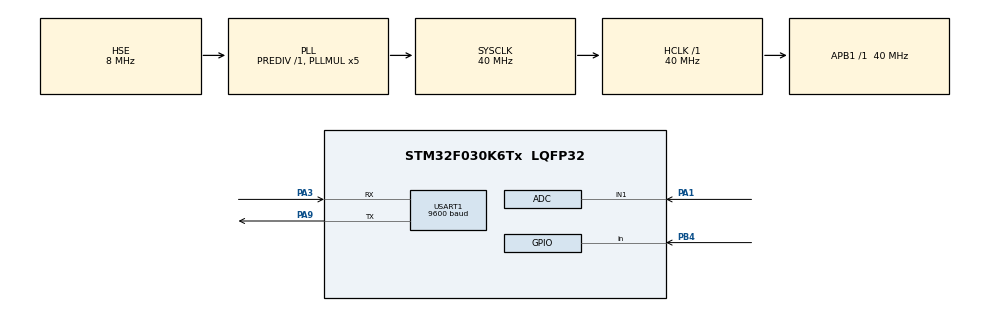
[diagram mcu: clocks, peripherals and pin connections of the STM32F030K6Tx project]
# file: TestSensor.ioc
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ADC.ContinuousConvMode=ENABLE
ADC.SamplingTime=ADC_SAMPLETIME_239CYCLES_5
Mcu.Family=STM32F0
Mcu.Name=STM32F030K6Tx
Mcu.Package=LQFP32
NVIC.ADC1_IRQn=true\:0\:0\:false\:false\:true\:true\:true
NVIC.USART1_IRQn=true\:0\:0\:false\:false\:true\:true\:true
PA1.Mode=IN1
PA1.Signal=ADC_IN1
PA13.Mode=Serial_Wire
PA13.Signal=SYS_SWDIO
PA14.Mode=Serial_Wire
PA14.Signal=SYS_SWCLK
PA3.Mode=Asynchronous
PA3.Signal=USART1_RX
PA9.Mode=Asynchronous
PA9.Signal=USART1_TX
PB4.Signal=GPIO_Input
PF0-OSC_IN.Mode=HSE-External-Oscillator
PF0-OSC_IN.Signal=RCC_OSC_IN
PF1-OSC_OUT.Mode=HSE-External-Oscillator
PF1-OSC_OUT.Signal=RCC_OSC_OUT
ProjectManager.HeapSize=0x200
ProjectManager.StackSize=0x400
ProjectManager.TargetToolchain=MDK-ARM V5
RCC.AHBFreq_Value=40000000
RCC.APB1Freq_Value=40000000
RCC.APB1TimFreq_Value=40000000
RCC.HCLKFreq_Value=40000000
RCC.PLLMUL=RCC_PLL_MUL5
RCC.PLLSourceVirtual=RCC_PLLSOURCE_HSE
RCC.SYSCLKFreq_VALUE=40000000
RCC.SYSCLKSource=RCC_SYSCLKSOURCE_PLLCLK
TIM3.Period=0xffff-1
TIM3.Prescaler=40-1
USART1.BaudRate=9600
USART1.VirtualMode-Asynchronous=VM_ASYNC
VP_TIM3_VS_ClockSourceINT.Mode=Internal
board=custom

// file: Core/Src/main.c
/* USER CODE BEGIN Header */
/**
  ******************************************************************************
  * @file           : main.c
  * @brief          : Main program body
  ******************************************************************************
  * @attention
  *
  * Copyright (c) 2022 STMicroelectronics.
  * All rights reserved.
  *
  * This software is licensed under terms that can be found in the LICENSE file
  * in the root directory of this software component.
  * If no LICENSE file comes with this software, it is provided AS-IS.
  *
  ******************************************************************************
  */
/* USER CODE END Header */
#include "main.h"

/* USER CODE BEGIN Includes */

#include "stdio.h"
/* USER CODE END Includes */

ADC_HandleTypeDef hadc;

TIM_HandleTypeDef htim3;

UART_HandleTypeDef huart1;

void SystemClock_Config(void);
static void MX_GPIO_Init(void);
static void MX_TIM3_Init(void);
static void MX_USART1_UART_Init(void);
static void MX_ADC_Init(void);

/* USER CODE BEGIN 0 */
/******* Variable ********/
uint8_t Temp_byte1, Temp_byte2;
uint32_t TEMP, ADCVal;
float Temperature = 0;
uint8_t Presence = 0;
char buffer[12] = {0};
int Soil_Moisture = 0;
int buffer_int = 0;
size_t strlen(const char*str);
/********* Convert float to int ********/
int Convert_Fl_To_Int(float fl){
	if(fl - (int)fl > 0.5){
		return (int)fl + 1;
		}
	return (int)fl;
	}

/********* UART transmit **********/
void UARTprintf(char *str){
	HAL_UART_Transmit(&huart1, (uint8_t *) str, strlen(str), 1000);
}

/*********** Delay us ************/
void delay (uint16_t time)
{
	/* change your code here for the delay in microseconds */
	__HAL_TIM_SET_COUNTER(&htim3, 0);
	while ((__HAL_TIM_GET_COUNTER(&htim3))<time);
}

/******** Set Pin as Output******/
void Set_Pin_Output (GPIO_TypeDef *GPIOx, uint16_t GPIO_Pin)
{
	GPIO_InitTypeDef GPIO_InitStruct = {0};
	GPIO_InitStruct.Pin = GPIO_Pin;
	GPIO_InitStruct.Mode = GPIO_MODE_OUTPUT_PP;
	GPIO_InitStruct.Speed = GPIO_SPEED_FREQ_LOW;
	HAL_GPIO_Init(GPIOx, &GPIO_InitStruct);
}

/******** Set Pin as Input*******/
void Set_Pin_Input (GPIO_TypeDef *GPIOx, uint16_t GPIO_Pin)
{
	GPIO_InitTypeDef GPIO_InitStruct = {0};
	GPIO_InitStruct.Pin = GPIO_Pin;
	GPIO_InitStruct.Mode = GPIO_MODE_INPUT;
	GPIO_InitStruct.Pull = GPIO_PULLUP;
	HAL_GPIO_Init(GPIOx, &GPIO_InitStruct);
}

/*********** DS18B20 Funtctions ********************/
#define DS18B20_PORT GPIOB
#define DS18B20_PIN GPIO_PIN_4
/***** Initialize DS18B20 *******/
uint8_t DS18B20_Start (void)
{
	uint8_t Response = 0;
	Set_Pin_Output (DS18B20_PORT, DS18B20_PIN);  // set the pin as output
	HAL_GPIO_WritePin(DS18B20_PORT, DS18B20_PIN, 0); // set low
	delay(480); // datasheet

	Set_Pin_Input(DS18B20_PORT, DS18B20_PIN); // set the pin as input
	delay(80); // datasheet

	if(!(HAL_GPIO_ReadPin(DS18B20_PORT, DS18B20_PIN)))
		Response = 1;
	else Response = -1;

	delay(400);
	return Response;

}

/***** Write Bit to DS18B20 ******/
void DS18B20_Write (uint8_t data)
{
	Set_Pin_Output(DS18B20_PORT, DS18B20_PIN);  // set as output

	for (int i=0; i<8; i++)
	{

		if ((data & (1<<i))!=0)  // if the bit is high
		{
			// write 1

			Set_Pin_Output(DS18B20_PORT, DS18B20_PIN);  // set as output
			HAL_GPIO_WritePin (DS18B20_PORT, DS18B20_PIN, 0);  // pull the pin LOW
			delay (1);  // wait for 1 us

			Set_Pin_Input(DS18B20_PORT, DS18B20_PIN);  // set as input
			delay (60);  // wait for 60 us
		}

		else  // if the bit is low
		{
			// write 0

			Set_Pin_Output(DS18B20_PORT, DS18B20_PIN);
			HAL_GPIO_WritePin (DS18B20_PORT, DS18B20_PIN, 0);  // pull the pin LOW
			delay (60);  // wait for 60 us

			Set_Pin_Input(DS18B20_PORT, DS18B20_PIN);
		}
	}
}

/***** Read DS18B20's temp value *****/
uint8_t DS18B20_Read (void)
{
	uint8_t value=0;

	Set_Pin_Input(DS18B20_PORT, DS18B20_PIN);

	for (int i=0;i<8;i++)
	{
		Set_Pin_Output(DS18B20_PORT, DS18B20_PIN);   // set as output

		HAL_GPIO_WritePin (DS18B20_PORT, DS18B20_PIN, 0);  // pull the data pin LOW
		delay (2);  // wait for > 1us

		Set_Pin_Input(DS18B20_PORT, DS18B20_PIN);  // set as input
		if (HAL_GPIO_ReadPin (DS18B20_PORT, DS18B20_PIN))  // if the pin is HIGH
		{
			value |= 1<<i;  // read = 1
		}
		delay (60);  // wait for 60 us
	}
	return value;
}

/* USER CODE END 0 */

int main(void)
{

  /* MCU Configuration--------------------------------------------------------*/

  /* Reset of all peripherals, Initializes the Flash interface and the Systick. */
  HAL_Init();

  /* Configure the system clock */
  SystemClock_Config();

  /* Initialize all configured peripherals */
  MX_GPIO_Init();
  MX_TIM3_Init();
  MX_USART1_UART_Init();
  MX_ADC_Init();
  /* USER CODE BEGIN 2 */
	HAL_TIM_Base_Start(&htim3);
  /* USER CODE END 2 */

  /* Infinite loop */
  while (1)
  {

    /* USER CODE BEGIN 3 */

		/****** Soil moisture sensor ******/ //dry : 3630 (value ADC)
		HAL_ADC_Start(&hadc);
		HAL_ADC_PollForConversion(&hadc, 100);
		ADCVal = HAL_ADC_GetValue(&hadc);
		HAL_ADC_Stop (&hadc);
		Soil_Moisture = 100 - (ADCVal * 100)/3630;

		/****** Temp sensor *******/
	  Presence = DS18B20_Start();
	  HAL_Delay(1);
	  DS18B20_Write(0xCC);
		DS18B20_Write(0x44);
		HAL_Delay(800);

		Presence = DS18B20_Start();
		HAL_Delay(1);
		DS18B20_Write(0xCC);
		DS18B20_Write(0xBE);

		Temp_byte1 = DS18B20_Read();
		Temp_byte2 = DS18B20_Read();
		TEMP = (Temp_byte2<<8)|Temp_byte1;
		Temperature = (float)TEMP/16;
		buffer_int =  Convert_Fl_To_Int(Temperature) + Soil_Moisture*1000;
		sprintf(buffer, "%d", buffer_int);
		UARTprintf(buffer);

		HAL_Delay(200);
  }
  /* USER CODE END 3 */
}

void SystemClock_Config(void)
{
  RCC_OscInitTypeDef RCC_OscInitStruct = {0};
  RCC_ClkInitTypeDef RCC_ClkInitStruct = {0};
  RCC_PeriphCLKInitTypeDef PeriphClkInit = {0};

  /** Initializes the RCC Oscillators according to the specified parameters
  * in the RCC_OscInitTypeDef structure.
  */
  RCC_OscInitStruct.OscillatorType = RCC_OSCILLATORTYPE_HSI14|RCC_OSCILLATORTYPE_HSE;
  RCC_OscInitStruct.HSEState = RCC_HSE_ON;
  RCC_OscInitStruct.HSI14State = RCC_HSI14_ON;
  RCC_OscInitStruct.HSI14CalibrationValue = 16;
  RCC_OscInitStruct.PLL.PLLState = RCC_PLL_ON;
  RCC_OscInitStruct.PLL.PLLSource = RCC_PLLSOURCE_HSE;
  RCC_OscInitStruct.PLL.PLLMUL = RCC_PLL_MUL5;
  RCC_OscInitStruct.PLL.PREDIV = RCC_PREDIV_DIV1;
  if (HAL_RCC_OscConfig(&RCC_OscInitStruct) != HAL_OK)
  {
    Error_Handler();
  }
  /** Initializes the CPU, AHB and APB buses clocks
  */
  RCC_ClkInitStruct.ClockType = RCC_CLOCKTYPE_HCLK|RCC_CLOCKTYPE_SYSCLK
                              |RCC_CLOCKTYPE_PCLK1;
  RCC_ClkInitStruct.SYSCLKSource = RCC_SYSCLKSOURCE_PLLCLK;
  RCC_ClkInitStruct.AHBCLKDivider = RCC_SYSCLK_DIV1;
  RCC_ClkInitStruct.APB1CLKDivider = RCC_HCLK_DIV1;

  if (HAL_RCC_ClockConfig(&RCC_ClkInitStruct, FLASH_LATENCY_1) != HAL_OK)
  {
    Error_Handler();
  }
  PeriphClkInit.PeriphClockSelection = RCC_PERIPHCLK_USART1;
  PeriphClkInit.Usart1ClockSelection = RCC_USART1CLKSOURCE_PCLK1;
  if (HAL_RCCEx_PeriphCLKConfig(&PeriphClkInit) != HAL_OK)
  {
    Error_Handler();
  }
}

static void MX_ADC_Init(void)
{

  ADC_ChannelConfTypeDef sConfig = {0};

  /** Configure the global features of the ADC (Clock, Resolution, Data Alignment and number of conversion)
  */
  hadc.Instance = ADC1;
  hadc.Init.ClockPrescaler = ADC_CLOCK_ASYNC_DIV1;
  hadc.Init.Resolution = ADC_RESOLUTION_12B;
  hadc.Init.DataAlign = ADC_DATAALIGN_RIGHT;
  hadc.Init.ScanConvMode = ADC_SCAN_DIRECTION_FORWARD;
  hadc.Init.EOCSelection = ADC_EOC_SINGLE_CONV;
  hadc.Init.LowPowerAutoWait = DISABLE;
  hadc.Init.LowPowerAutoPowerOff = DISABLE;
  hadc.Init.ContinuousConvMode = ENABLE;
  hadc.Init.DiscontinuousConvMode = DISABLE;
  hadc.Init.ExternalTrigConv = ADC_SOFTWARE_START;
  hadc.Init.ExternalTrigConvEdge = ADC_EXTERNALTRIGCONVEDGE_NONE;
  hadc.Init.DMAContinuousRequests = DISABLE;
  hadc.Init.Overrun = ADC_OVR_DATA_PRESERVED;
  if (HAL_ADC_Init(&hadc) != HAL_OK)
  {
    Error_Handler();
  }
  /** Configure for the selected ADC regular channel to be converted.
  */
  sConfig.Channel = ADC_CHANNEL_1;
  sConfig.Rank = ADC_RANK_CHANNEL_NUMBER;
  sConfig.SamplingTime = ADC_SAMPLETIME_239CYCLES_5;
  if (HAL_ADC_ConfigChannel(&hadc, &sConfig) != HAL_OK)
  {
    Error_Handler();
  }

}

static void MX_TIM3_Init(void)
{

  TIM_ClockConfigTypeDef sClockSourceConfig = {0};
  TIM_MasterConfigTypeDef sMasterConfig = {0};

  htim3.Instance = TIM3;
  htim3.Init.Prescaler = 40-1;
  htim3.Init.CounterMode = TIM_COUNTERMODE_UP;
  htim3.Init.Period = 0xffff-1;
  htim3.Init.ClockDivision = TIM_CLOCKDIVISION_DIV1;
  htim3.Init.AutoReloadPreload = TIM_AUTORELOAD_PRELOAD_DISABLE;
  if (HAL_TIM_Base_Init(&htim3) != HAL_OK)
  {
    Error_Handler();
  }
  sClockSourceConfig.ClockSource = TIM_CLOCKSOURCE_INTERNAL;
  if (HAL_TIM_ConfigClockSource(&htim3, &sClockSourceConfig) != HAL_OK)
  {
    Error_Handler();
  }
  sMasterConfig.MasterOutputTrigger = TIM_TRGO_RESET;
  sMasterConfig.MasterSlaveMode = TIM_MASTERSLAVEMODE_DISABLE;
  if (HAL_TIMEx_MasterConfigSynchronization(&htim3, &sMasterConfig) != HAL_OK)
  {
    Error_Handler();
  }

}

static void MX_USART1_UART_Init(void)
{

  huart1.Instance = USART1;
  huart1.Init.BaudRate = 9600;
  huart1.Init.WordLength = UART_WORDLENGTH_8B;
  huart1.Init.StopBits = UART_STOPBITS_1;
  huart1.Init.Parity = UART_PARITY_NONE;
  huart1.Init.Mode = UART_MODE_TX_RX;
  huart1.Init.HwFlowCtl = UART_HWCONTROL_NONE;
  huart1.Init.OverSampling = UART_OVERSAMPLING_16;
  huart1.Init.OneBitSampling = UART_ONE_BIT_SAMPLE_DISABLE;
  huart1.AdvancedInit.AdvFeatureInit = UART_ADVFEATURE_NO_INIT;
  if (HAL_UART_Init(&huart1) != HAL_OK)
  {
    Error_Handler();
  }

}

static void MX_GPIO_Init(void)
{
  GPIO_InitTypeDef GPIO_InitStruct = {0};

  /* GPIO Ports Clock Enable */
  __HAL_RCC_GPIOF_CLK_ENABLE();
  __HAL_RCC_GPIOA_CLK_ENABLE();
  __HAL_RCC_GPIOB_CLK_ENABLE();

  /*Configure GPIO pin : PB4 */
  GPIO_InitStruct.Pin = GPIO_PIN_4;
  GPIO_InitStruct.Mode = GPIO_MODE_INPUT;
  GPIO_InitStruct.Pull = GPIO_NOPULL;
  HAL_GPIO_Init(GPIOB, &GPIO_InitStruct);

}

void Error_Handler(void)
{
  __disable_irq();
  while (1)
  {
  }
}
